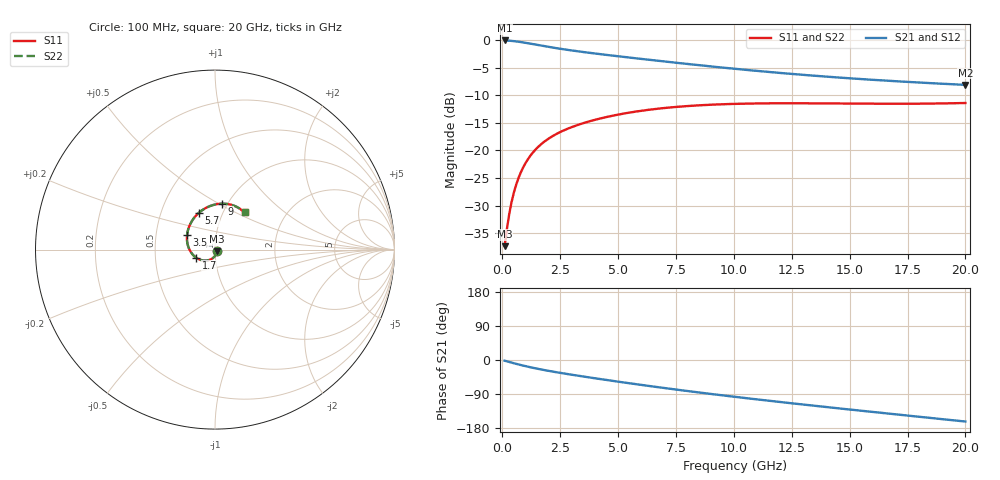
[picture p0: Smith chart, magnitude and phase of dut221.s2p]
! Touchstone file exported from HFSS 2023.1.0
!  File:  D:/Users/fzz/RDL_TSV/temp_RDL_TSV_221_1778757919.aedt
!  Generated:  7:34:38 %x4E0B%x5348  5%x6708 14, 2026
!  Design:  RDL_TSV
!  Project:  temp_RDL_TSV_221_1778757919
!  Setup:  Setup1
!  Solution:  Sweep
! Variables:
!  dtsv = 16.35um
!  hbump = 3um
!  htsv = 88.22um
!  ldown = 337.37um
!  lrdl = 187.52um
!  p = 40
!  p1 = 50.12um
!  rhole = 10um
!  subl = 1762.19um
!  t = 450um
!  tdown = 4.72um
!  trdl = 2.78um
!  viad = 10um
!  wdown = 22.92um
!  wrdl = 13.28um
!  xbump = 18um
# GHz S MA R 50.000000
! Terminal data exported
! Port[1] = TM1_1_T1
! Port[2] = TM1_4_T1
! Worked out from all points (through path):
!   200 points, 100 MHz to 20 GHz, reference 50 ohm
!   highest |S21| = -0.10 dB at 100 MHz (marker M1); lowest = -8.1 dB at 20 GHz (marker M2)
!   group delay of S21, straight-line fit = 21.1 ps
!   lowest |S11| = -37.3 dB at 100 MHz (marker M3), VSWR 1.03, Z = 51 - j0.894 ohm
!   |S11| at or under -10 dB: start of sweep to end of sweep
!   |S22| runs from -37.3 to -11.4 dB; largest |S21 - S12| = 8.7e-15
!   S11 on the Smith chart (normalised r, x): 100 MHz: 1.02, -0.02; 1.7 GHz: 0.81, -0.07; 3.5 GHz: 0.72, +0.13; 5.7 GHz: 0.77, +0.33; 9 GHz: 0.94, +0.52; 20 GHz: 1.26, +0.57
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0.1  0.0136 -40.1  0.9883 -1.8  0.9883 -1.8  0.0136 -40.1
! Gamma 0 0 0 0
! Port Impedance 50 0 50 0
0.2  0.0195 -64.0  0.9862 -3.5  0.9862 -3.5  0.0195 -64.0
0.3  0.02659 -78.5  0.9831 -5.2  0.9831 -5.2  0.02659 -78.5
0.4  0.03406 -88.9  0.979 -6.9  0.979 -6.9  0.03406 -88.9
0.5  0.04158 -97.2  0.9742 -8.6  0.9742 -8.6  0.04158 -97.2
0.7  0.05624 -110.8  0.9624 -11.7  0.9624 -11.7  0.05624 -110.8
0.9  0.07003 -122.1  0.9486 -14.8  0.9486 -14.8  0.07003 -122.1
1.1  0.08277 -132.2  0.9335 -17.6  0.9335 -17.6  0.08276 -132.1
1.4  0.09986 -145.5  0.9099 -21.6  0.9099 -21.6  0.09986 -145.5
1.7  0.1148 -157.4  0.8865 -25.3  0.8865 -25.3  0.1148 -157.4
2.5  0.1465 176.5  0.8312 -33.9  0.8312 -33.9  0.1465 176.5
3.5  0.1765 151.6  0.7764 -43.6  0.7764 -43.6  0.1765 151.6
4.6  0.2026 130.6  0.7272 -53.6  0.7272 -53.6  0.2025 130.6
5.7  0.2234 114.1  0.684 -63.2  0.684 -63.2  0.2233 114.1
6.8  0.2394 100.8  0.6446 -72.4  0.6446 -72.4  0.2393 100.8
9  0.259 81.2  0.5757 -89.5  0.5757 -89.5  0.2588 81.2
10.1  0.2639 74.0  0.5461 -97.6  0.5461 -97.6  0.2636 74.0
11.7  0.2668 65.8  0.5085 -108.8  0.5085 -108.8  0.2666 65.8
13.4  0.2667 59.6  0.4752 -120.2  0.4752 -120.2  0.2664 59.6
15  0.2653 55.7  0.4492 -130.7  0.4492 -130.7  0.2651 55.7
16.7  0.2643 53.1  0.4262 -141.6  0.4262 -141.6  0.2641 53.1
20  0.2685 51.1  0.3917 -162.4  0.3917 -162.4  0.2682 51.1
